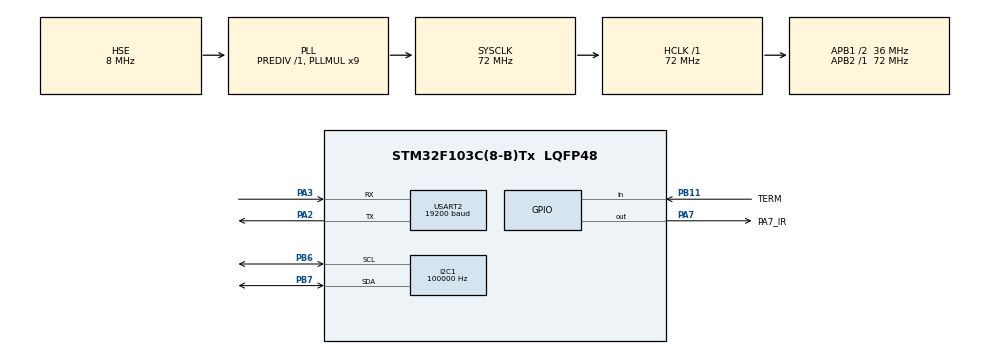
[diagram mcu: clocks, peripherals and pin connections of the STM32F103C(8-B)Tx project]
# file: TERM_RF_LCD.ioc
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I2C1.ClockSpeed=100000
I2C1.I2C_Mode=I2C_Fast
I2C1.NoStretchMode=I2C_NOSTRETCH_DISABLE
I2C1.OwnAddress=0x15
Mcu.Family=STM32F1
Mcu.Name=STM32F103C(8-B)Tx
Mcu.Package=LQFP48
NVIC.PriorityGroup=NVIC_PRIORITYGROUP_4
NVIC.TIM1_UP_IRQn=true\:0\:0\:false\:true\:true\:1\:true\:true
NVIC.TIM2_IRQn=true\:0\:0\:false\:false\:true\:true\:true
NVIC.USART2_IRQn=true\:0\:0\:false\:false\:true\:true\:true
PA13.Mode=Serial_Wire
PA13.Signal=SYS_JTMS-SWDIO
PA14.Mode=Serial_Wire
PA14.Signal=SYS_JTCK-SWCLK
PA2.Mode=Asynchronous
PA2.Signal=USART2_TX
PA3.Mode=Asynchronous
PA3.Signal=USART2_RX
PA7.GPIO_Label=PA7_IR
PA7.Signal=GPIO_Output
PB11.GPIO_Label=TERM
PB11.Signal=GPIO_Input
PB6.Mode=I2C
PB6.Signal=I2C1_SCL
PB7.Mode=I2C
PB7.Signal=I2C1_SDA
PD0-OSC_IN.Mode=HSE-External-Oscillator
PD0-OSC_IN.Signal=RCC_OSC_IN
PD1-OSC_OUT.Mode=HSE-External-Oscillator
PD1-OSC_OUT.Signal=RCC_OSC_OUT
ProjectManager.HeapSize=0x200
ProjectManager.StackSize=0x400
ProjectManager.TargetToolchain=MDK-ARM V5.27
RCC.ADCPresc=RCC_ADCPCLK2_DIV6
RCC.AHBFreq_Value=72000000
RCC.APB1CLKDivider=RCC_HCLK_DIV2
RCC.APB1Freq_Value=36000000
RCC.APB1TimFreq_Value=72000000
RCC.APB2Freq_Value=72000000
RCC.APB2TimFreq_Value=72000000
RCC.HCLKFreq_Value=72000000
RCC.PLLMUL=RCC_PLL_MUL9
RCC.PLLSourceVirtual=RCC_PLLSOURCE_HSE
RCC.SYSCLKFreq_VALUE=72000000
RCC.SYSCLKSource=RCC_SYSCLKSOURCE_PLLCLK
RCC.USBFreq_Value=48000000
RCC.USBPrescaler=RCC_USBCLKSOURCE_PLL_DIV1_5
TIM1.AutoReloadPreload=TIM_AUTORELOAD_PRELOAD_ENABLE
TIM1.ClockDivision=TIM_CLOCKDIVISION_DIV2
TIM1.Period=1
TIM1.Prescaler=24000-1
TIM1.TIM_MasterOutputTrigger=TIM_TRGO_UPDATE
TIM2.AutoReloadPreload=TIM_AUTORELOAD_PRELOAD_ENABLE
TIM2.Period=4090
USART2.BaudRate=19200
USART2.VirtualMode=VM_ASYNC
VP_TIM1_VS_ClockSourceINT.Mode=Internal
VP_TIM2_VS_ClockSourceINT.Mode=Internal
board=custom

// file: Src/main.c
/* USER CODE BEGIN Header */
/**
  ******************************************************************************
  * @file           : main.c
  * @brief          : Main program body
  ******************************************************************************
  * @attention
  *
  * <h2><center>&copy; Copyright (c) 2021 STMicroelectronics.
  * All rights reserved.</center></h2>
  *
  * This software component is licensed by ST under BSD 3-Clause license,
  * the "License"; You may not use this file except in compliance with the
  * License. You may obtain a copy of the License at:
  *                        opensource.org/licenses/BSD-3-Clause
  *
  ******************************************************************************
  */
/* USER CODE END Header */
#include "main.h"
#include "i2c.h"
#include "tim.h"
#include "usart.h"
#include "gpio.h"

/* USER CODE BEGIN Includes */
#include "setup.h"
#include "control.h"
#include "ssd1306.h"
#include "ds18b20.h"
#include "shtc3.h"

/* USER CODE END Includes */

void SystemClock_Config(void);
static void MX_NVIC_Init(void);

int main(void)
{

  /* MCU Configuration--------------------------------------------------------*/

  /* Reset of all peripherals, Initializes the Flash interface and the Systick. */
  HAL_Init();

  /* USER CODE BEGIN Init */
    SETUP_Load();
  /* USER CODE END Init */

  /* Configure the system clock */
  SystemClock_Config();

  /* Initialize all configured peripherals */
  MX_GPIO_Init();
  MX_TIM1_Init();
  MX_I2C1_Init();
  MX_TIM2_Init();
  MX_USART2_UART_Init();

  /* Initialize interrupts */
  MX_NVIC_Init();
  /* USER CODE BEGIN 2 */

//    USART_SetBaudRate(USART3, 115200);
    LL_USART_EnableIT_RXNE(USART2);
    LL_USART_EnableIT_ERROR(USART2);

    HAL_TIM_Base_Start_IT(&htim1);
    HAL_TIM_Base_Start_IT(&htim2);

    HAL_Delay(500);

	ssd1306_Init(&hi2c1);  //Initialize display
    HAL_Delay(100);

    ssd1306_SetPresent();
    dev_var.term_real[0] = -56.1f;
    dev_var.term_real[1] = -56.1f;
    dev_var.term_real[2] = -56.1f;
    dev_var.term_real[3] = -56.1f;
    dev_var.term_test = 1.234f;

//------------------------------------

    HAL_Delay(3000);

    port_init();
    ds18b20_proc();

//    if (!shtc3_read_id(&hi2c1))
//    {
    // Sensor is not found
//    }

  /* USER CODE END 2 */

  /* Infinite loop */
  /* USER CODE BEGIN WHILE */
  while (1)
  {
      USART2_Proc();
      ssd1306_Proc();
      SYSTEM_Proc();
      CONTROL_Proc();
      ds18b20_proc();
      shtc3_proc();

    /* USER CODE END WHILE */

  }
}

void SystemClock_Config(void)
{
  RCC_OscInitTypeDef RCC_OscInitStruct = {0};
  RCC_ClkInitTypeDef RCC_ClkInitStruct = {0};

  /** Initializes the RCC Oscillators according to the specified parameters
  * in the RCC_OscInitTypeDef structure.
  */
  RCC_OscInitStruct.OscillatorType = RCC_OSCILLATORTYPE_HSE;
  RCC_OscInitStruct.HSEState = RCC_HSE_ON;
  RCC_OscInitStruct.HSEPredivValue = RCC_HSE_PREDIV_DIV1;
  RCC_OscInitStruct.HSIState = RCC_HSI_ON;
  RCC_OscInitStruct.PLL.PLLState = RCC_PLL_ON;
  RCC_OscInitStruct.PLL.PLLSource = RCC_PLLSOURCE_HSE;
  RCC_OscInitStruct.PLL.PLLMUL = RCC_PLL_MUL9;
  if (HAL_RCC_OscConfig(&RCC_OscInitStruct) != HAL_OK)
  {
    Error_Handler();
  }
  /** Initializes the CPU, AHB and APB buses clocks
  */
  RCC_ClkInitStruct.ClockType = RCC_CLOCKTYPE_HCLK|RCC_CLOCKTYPE_SYSCLK
                              |RCC_CLOCKTYPE_PCLK1|RCC_CLOCKTYPE_PCLK2;
  RCC_ClkInitStruct.SYSCLKSource = RCC_SYSCLKSOURCE_PLLCLK;
  RCC_ClkInitStruct.AHBCLKDivider = RCC_SYSCLK_DIV1;
  RCC_ClkInitStruct.APB1CLKDivider = RCC_HCLK_DIV2;
  RCC_ClkInitStruct.APB2CLKDivider = RCC_HCLK_DIV1;

  if (HAL_RCC_ClockConfig(&RCC_ClkInitStruct, FLASH_LATENCY_2) != HAL_OK)
  {
    Error_Handler();
  }
}

/**
  * @brief NVIC Configuration.
  * @retval None
  */
static void MX_NVIC_Init(void)
{
  /* TIM1_UP_IRQn interrupt configuration */
  HAL_NVIC_SetPriority(TIM1_UP_IRQn, 0, 0);
  HAL_NVIC_EnableIRQ(TIM1_UP_IRQn);
}

void Error_Handler(void)
{
}

/************************ (C) COPYRIGHT STMicroelectronics *****END OF FILE****/
